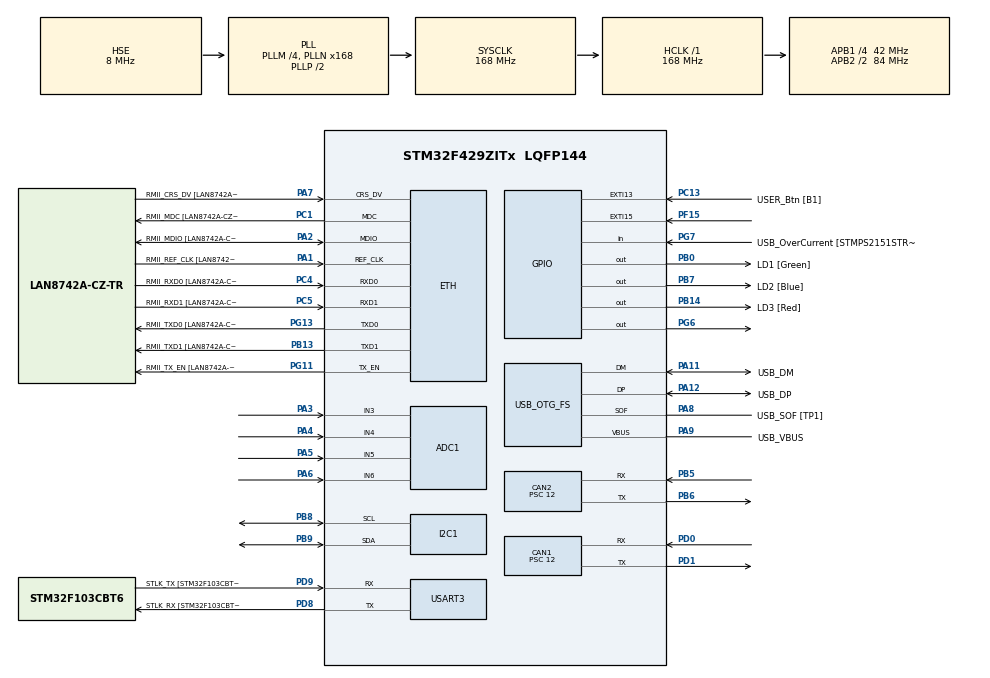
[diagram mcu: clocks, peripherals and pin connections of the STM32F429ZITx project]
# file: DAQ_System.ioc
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ADC1.Channel-3\#ChannelRegularConversion=ADC_CHANNEL_4
ADC1.Channel-7\#ChannelRegularConversion=ADC_CHANNEL_5
ADC1.Channel-8\#ChannelRegularConversion=ADC_CHANNEL_3
ADC1.Channel-9\#ChannelRegularConversion=ADC_CHANNEL_6
ADC1.ContinuousConvMode=ENABLE
ADC1.DMAContinuousRequests=ENABLE
ADC1.DataAlign=ADC_DATAALIGN_RIGHT
ADC1.NbrOfConversion=4
ADC1.NbrOfConversionFlag=1
ADC1.Rank-3\#ChannelRegularConversion=1
ADC1.Rank-7\#ChannelRegularConversion=2
ADC1.Rank-8\#ChannelRegularConversion=3
ADC1.Rank-9\#ChannelRegularConversion=4
ADC1.SamplingTime-3\#ChannelRegularConversion=ADC_SAMPLETIME_15CYCLES
ADC1.SamplingTime-7\#ChannelRegularConversion=ADC_SAMPLETIME_15CYCLES
ADC1.SamplingTime-8\#ChannelRegularConversion=ADC_SAMPLETIME_15CYCLES
ADC1.SamplingTime-9\#ChannelRegularConversion=ADC_SAMPLETIME_15CYCLES
ADC1.master=1
CAN1.BS1=CAN_BS1_11TQ
CAN1.BS2=CAN_BS2_2TQ
CAN1.CalculateBaudRate=250000
CAN1.CalculateTimeBit=4000
CAN1.CalculateTimeQuantum=285.7142857142857
CAN1.Mode=CAN_MODE_NORMAL
CAN1.Prescaler=12
CAN2.BS1=CAN_BS1_11TQ
CAN2.BS2=CAN_BS2_2TQ
CAN2.CalculateBaudRate=250000
CAN2.CalculateTimeBit=4000
CAN2.CalculateTimeQuantum=285.7142857142857
CAN2.Prescaler=12
Dma.ADC1.0.Direction=DMA_PERIPH_TO_MEMORY
Dma.ADC1.0.FIFOMode=DMA_FIFOMODE_DISABLE
Dma.ADC1.0.Instance=DMA2_Stream0
Dma.ADC1.0.MemDataAlignment=DMA_MDATAALIGN_WORD
Dma.ADC1.0.MemInc=DMA_MINC_ENABLE
Dma.ADC1.0.Mode=DMA_CIRCULAR
Dma.ADC1.0.PeriphDataAlignment=DMA_PDATAALIGN_WORD
Dma.ADC1.0.PeriphInc=DMA_PINC_DISABLE
Dma.ADC1.0.Priority=DMA_PRIORITY_LOW
Dma.Request0=ADC1
ETH.MediaInterface=HAL_ETH_RMII_MODE
ETH.PHY_Name=LAN8742A_PHY_ADDRESS
ETH.PHY_Value=0
ETH.PhyAddress=0
FATFS._FS_EXFAT=1
FATFS._MAX_SS=4096
FATFS._USE_LFN=2
FREERTOS.Tasks01=defaultTask,24,128,StartDefaultTask,Default,NULL,Dynamic,NULL,NULL
Mcu.Family=STM32F4
Mcu.Name=STM32F429ZITx
Mcu.Package=LQFP144
NVIC.CAN1_RX0_IRQn=true\:5\:0\:false\:false\:true\:true\:true\:true\:true
NVIC.CAN1_RX1_IRQn=true\:5\:0\:false\:false\:true\:true\:true\:true\:true
NVIC.CAN2_RX0_IRQn=true\:5\:0\:false\:false\:true\:true\:true\:true\:true
NVIC.CAN2_RX1_IRQn=true\:5\:0\:false\:false\:true\:true\:true\:true\:true
NVIC.DMA2_Stream0_IRQn=true\:5\:0\:false\:false\:true\:true\:false\:true\:true
NVIC.EXTI15_10_IRQn=true\:5\:0\:true\:false\:true\:true\:true\:true\:true
NVIC.OTG_FS_IRQn=true\:15\:0\:true\:false\:true\:true\:false\:true\:true
NVIC.PriorityGroup=NVIC_PRIORITYGROUP_4
NVIC.TIM6_DAC_IRQn=true\:15\:0\:false\:false\:true\:false\:false\:true\:true
NVIC.TIM7_IRQn=true\:5\:0\:false\:false\:true\:true\:true\:true\:true
NVIC.TimeBase=TIM6_DAC_IRQn
NVIC.TimeBaseIP=TIM6
PA1.GPIO_Label=RMII_REF_CLK [LAN8742A-CZ-TR_REFCLK0]
PA1.Mode=RMII
PA1.Signal=ETH_REF_CLK
PA10.GPIO_Label=USB_ID
PA10.Signal=USB_OTG_FS_ID
PA11.GPIO_Label=USB_DM
PA11.Mode=Host_Only
PA11.Signal=USB_OTG_FS_DM
PA12.GPIO_Label=USB_DP
PA12.Mode=Host_Only
PA12.Signal=USB_OTG_FS_DP
PA13.GPIO_Label=TMS
PA13.Mode=Serial_Wire
PA13.Signal=SYS_JTMS-SWDIO
PA14.GPIO_Label=TCK
PA14.Mode=Serial_Wire
PA14.Signal=SYS_JTCK-SWCLK
PA2.GPIO_Label=RMII_MDIO [LAN8742A-CZ-TR_MDIO]
PA2.Mode=RMII
PA2.Signal=ETH_MDIO
PA3.Signal=ADCx_IN3
PA4.Signal=ADCx_IN4
PA5.Signal=ADCx_IN5
PA6.Signal=ADCx_IN6
PA7.GPIO_Label=RMII_CRS_DV [LAN8742A-CZ-TR_CRS_DV]
PA7.Mode=RMII
PA7.Signal=ETH_CRS_DV
PA8.GPIO_Label=USB_SOF [TP1]
PA8.Mode=Activate_SOF_FS
PA8.Signal=USB_OTG_FS_SOF
PA9.GPIO_Label=USB_VBUS
PA9.Mode=Activate_VBUS
PA9.Signal=USB_OTG_FS_VBUS
PB0.GPIO_Label=LD1 [Green]
PB0.Signal=GPIO_Output
PB13.GPIO_Label=RMII_TXD1 [LAN8742A-CZ-TR_TXD1]
PB13.Mode=RMII
PB13.Signal=ETH_TXD1
PB14.GPIO_Label=LD3 [Red]
PB14.Signal=GPIO_Output
PB5.GPIO_PuPd=GPIO_PULLUP
PB5.Mode=CAN_Activate
PB5.Signal=CAN2_RX
PB6.Mode=CAN_Activate
PB6.Signal=CAN2_TX
PB7.GPIO_Label=LD2 [Blue]
PB7.Signal=GPIO_Output
PB8.Mode=I2C
PB8.Signal=I2C1_SCL
PB9.Mode=I2C
PB9.Signal=I2C1_SDA
PC1.GPIO_Label=RMII_MDC [LAN8742A-CZ-TR_MDC]
PC1.Mode=RMII
PC1.Signal=ETH_MDC
PC13.GPIO_Label=USER_Btn [B1]
PC13.GPIO_ModeDefaultEXTI=GPIO_MODE_IT_RISING
PC13.Signal=GPXTI13
PC14/OSC32_IN.Mode=LSE-External-Clock-Source
PC14/OSC32_IN.Signal=RCC_OSC32_IN
PC15/OSC32_OUT.Mode=LSE-External-Clock-Source
PC15/OSC32_OUT.Signal=RCC_OSC32_OUT
PC4.GPIO_Label=RMII_RXD0 [LAN8742A-CZ-TR_RXD0]
PC4.Mode=RMII
PC4.Signal=ETH_RXD0
PC5.GPIO_Label=RMII_RXD1 [LAN8742A-CZ-TR_RXD1]
PC5.Mode=RMII
PC5.Signal=ETH_RXD1
PD0.GPIO_PuPd=GPIO_PULLUP
PD0.Mode=CAN_Activate
PD0.Signal=CAN1_RX
PD1.Mode=CAN_Activate
PD1.Signal=CAN1_TX
PD8.GPIO_Label=STLK_RX [STM32F103CBT6_PA3]
PD8.Mode=Asynchronous
PD8.Signal=USART3_TX
PD9.GPIO_Label=STLK_TX [STM32F103CBT6_PA2]
PD9.Mode=Asynchronous
PD9.Signal=USART3_RX
PF15.GPIO_ModeDefaultEXTI=GPIO_MODE_IT_RISING_FALLING
PF15.GPIO_PuPd=GPIO_PULLDOWN
PF15.Signal=GPXTI15
PG11.GPIO_Label=RMII_TX_EN [LAN8742A-CZ-TR_TXEN]
PG11.Mode=RMII
PG11.Signal=ETH_TX_EN
PG13.GPIO_Label=RMII_TXD0 [LAN8742A-CZ-TR_TXD0]
PG13.Mode=RMII
PG13.Signal=ETH_TXD0
PG6.Signal=GPIO_Output
PG7.GPIO_Label=USB_OverCurrent [STMPS2151STR_FAULT]
PG7.Signal=GPIO_Input
PH0/OSC_IN.GPIO_Label=MCO [STM32F103CBT6_PA8]
PH0/OSC_IN.Mode=HSE-External-Oscillator
PH0/OSC_IN.Signal=RCC_OSC_IN
PH1/OSC_OUT.Mode=HSE-External-Oscillator
PH1/OSC_OUT.Signal=RCC_OSC_OUT
ProjectManager.HeapSize=0x200
ProjectManager.StackSize=0x400
ProjectManager.TargetToolchain=STM32CubeIDE
RCC.48MHZClocksFreq_Value=48000000
RCC.AHBFreq_Value=168000000
RCC.APB1CLKDivider=RCC_HCLK_DIV4
RCC.APB1Freq_Value=42000000
RCC.APB1TimFreq_Value=84000000
RCC.APB2CLKDivider=RCC_HCLK_DIV2
RCC.APB2Freq_Value=84000000
RCC.APB2TimCLKDivider=2
RCC.APB2TimFreq_Value=168000000
RCC.CortexFreq_Value=168000000
RCC.HCLKFreq_Value=168000000
RCC.HSE_VALUE=8000000
RCC.HSI_VALUE=16000000
RCC.LSE_VALUE=32768
RCC.PLLM=4
RCC.PLLMUL=RCC_PLL_MUL9
RCC.PLLN=168
RCC.PLLQ=7
RCC.PRESCALERUSB=RCC_USBCLKSOURCE_PLL_DIV1_5
RCC.SYSCLKFreq_VALUE=168000000
RCC.SYSCLKSource=RCC_SYSCLKSOURCE_PLLCLK
RCC.SYSCLKSourceVirtual=RCC_SYSCLKSOURCE_PLLCLK
RCC.USBFreq_Value=48000000
RCC.VCOOutputFreq_Value=336000000
SH.ADCx_IN3.0=ADC1_IN3,IN3
SH.ADCx_IN4.0=ADC1_IN4,IN4
SH.ADCx_IN5.0=ADC1_IN5,IN5
SH.ADCx_IN6.0=ADC1_IN6,IN6
TIM7.Period=105-1
TIM7.Prescaler=8000-1
USART3.VirtualMode=VM_ASYNC
USB_HOST.BSP.number=1
USB_HOST.USBH_HandleTypeDef-MSC_FS=hUsbHostFS
USB_HOST.USBH_PROCESS_STACK_SIZE-MSC_FS=1024
USB_HOST.VirtualModeFS=Msc
USB_HOST0.BSP.STBoard=false
USB_HOST0.BSP.api=Unknown
USB_HOST0.BSP.condition=SW_VBUS_DRIVE_MSC_FS \= false
USB_HOST0.BSP.instance=PG6
USB_HOST0.BSP.ip=GPIO
USB_HOST0.BSP.mode=Output
USB_HOST0.BSP.name=Drive_VBUS_FS
USB_HOST0.BSP.solution=PG6
USB_OTG_FS.VirtualMode=Host_Only
USB_OTG_FS.phy_itface=HCD_PHY_EMBEDDED
VP_FATFS_VS_USB.Mode=USB
VP_FREERTOS_VS_CMSIS_V2.Mode=CMSIS_V2
VP_SYS_VS_tim6.Mode=TIM6
VP_TIM7_VS_ClockSourceINT.Mode=Enable_Timer
VP_USB_HOST_VS_USB_HOST_MSC_FS.Mode=MSC_FS
board=NUCLEO-F429ZI

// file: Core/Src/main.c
/* USER CODE BEGIN Header */
/**
  ******************************************************************************
  * @file           : main.c
  * @brief          : Main program body
  ******************************************************************************
  * @attention
  *
  * Copyright (c) 2023 STMicroelectronics.
  * All rights reserved.
  *
  * This software is licensed under terms that can be found in the LICENSE file
  * in the root directory of this software component.
  * If no LICENSE file comes with this software, it is provided AS-IS.
  *
  ******************************************************************************
  */
/* USER CODE END Header */
#include "main.h"
#include "cmsis_os.h"
#include "adc.h"
#include "can.h"
#include "dma.h"
#include "eth.h"
#include "fatfs.h"
#include "i2c.h"
#include "tim.h"
#include "usart.h"
#include "usb_host.h"
#include "gpio.h"

/* USER CODE BEGIN Includes */
#include "../../Program/Src/app.hpp"
#include "retarget.h"
/* USER CODE END Includes */

/* USER CODE BEGIN PTD */
// CAN typedefs

/* USER CODE END PTD */

/* USER CODE BEGIN PV */
extern uint32_t timestamp_thread_flag;
extern osThreadId_t timestampTaskHandle;

/* USER CODE END PV */

void SystemClock_Config(void);
void MX_FREERTOS_Init(void);

int main(void)
{

  /* MCU Configuration--------------------------------------------------------*/

  /* Reset of all peripherals, Initializes the Flash interface and the Systick. */
  HAL_Init();

  /* Configure the system clock */
  SystemClock_Config();

  /* Initialize all configured peripherals */
  MX_GPIO_Init();
  MX_DMA_Init();
  MX_ETH_Init();
  MX_USART3_UART_Init();
  MX_ADC1_Init();
  MX_CAN1_Init();
  MX_I2C1_Init();
  MX_FATFS_Init();
  MX_TIM7_Init();
  MX_CAN2_Init();
  /* USER CODE BEGIN 2 */

//  RetargetInit(&huart3);
  cppMain();

  /* USER CODE END 2 */

  /* Init scheduler */
  osKernelInitialize();

  /* Call init function for freertos objects (in cmsis_os2.c) */
  MX_FREERTOS_Init();

  /* Start scheduler */
  osKernelStart();

  /* We should never get here as control is now taken by the scheduler */

  /* Infinite loop */
  while (1)
  {

  }
}

void SystemClock_Config(void)
{
  RCC_OscInitTypeDef RCC_OscInitStruct = {0};
  RCC_ClkInitTypeDef RCC_ClkInitStruct = {0};

  /** Configure the main internal regulator output voltage
  */
  __HAL_RCC_PWR_CLK_ENABLE();
  __HAL_PWR_VOLTAGESCALING_CONFIG(PWR_REGULATOR_VOLTAGE_SCALE1);

  /** Initializes the RCC Oscillators according to the specified parameters
  * in the RCC_OscInitTypeDef structure.
  */
  RCC_OscInitStruct.OscillatorType = RCC_OSCILLATORTYPE_HSE;
  RCC_OscInitStruct.HSEState = RCC_HSE_ON;
  RCC_OscInitStruct.PLL.PLLState = RCC_PLL_ON;
  RCC_OscInitStruct.PLL.PLLSource = RCC_PLLSOURCE_HSE;
  RCC_OscInitStruct.PLL.PLLM = 4;
  RCC_OscInitStruct.PLL.PLLN = 168;
  RCC_OscInitStruct.PLL.PLLP = RCC_PLLP_DIV2;
  RCC_OscInitStruct.PLL.PLLQ = 7;
  if (HAL_RCC_OscConfig(&RCC_OscInitStruct) != HAL_OK)
  {
    Error_Handler();
  }

  /** Initializes the CPU, AHB and APB buses clocks
  */
  RCC_ClkInitStruct.ClockType = RCC_CLOCKTYPE_HCLK|RCC_CLOCKTYPE_SYSCLK
                              |RCC_CLOCKTYPE_PCLK1|RCC_CLOCKTYPE_PCLK2;
  RCC_ClkInitStruct.SYSCLKSource = RCC_SYSCLKSOURCE_PLLCLK;
  RCC_ClkInitStruct.AHBCLKDivider = RCC_SYSCLK_DIV1;
  RCC_ClkInitStruct.APB1CLKDivider = RCC_HCLK_DIV4;
  RCC_ClkInitStruct.APB2CLKDivider = RCC_HCLK_DIV2;

  if (HAL_RCC_ClockConfig(&RCC_ClkInitStruct, FLASH_LATENCY_5) != HAL_OK)
  {
    Error_Handler();
  }
}

void HAL_TIM_PeriodElapsedCallback(TIM_HandleTypeDef *htim)
{
  /* USER CODE BEGIN Callback 0 */
	if (htim->Instance == TIM7) {
		osThreadFlagsSet(timestampTaskHandle, timestamp_thread_flag);
	}

  /* USER CODE END Callback 0 */
  if (htim->Instance == TIM6) {
    HAL_IncTick();
  }
}

void Error_Handler(void)
{
  __disable_irq();
  while (1)
  {
  }
}

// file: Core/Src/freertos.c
/* USER CODE BEGIN Header */
/**
 ******************************************************************************
 * File Name          : freertos.c
 * Description        : Code for freertos applications
 ******************************************************************************
 * @attention
 *
 * Copyright (c) 2023 STMicroelectronics.
 * All rights reserved.
 *
 * This software is licensed under terms that can be found in the LICENSE file
 * in the root directory of this software component.
 * If no LICENSE file comes with this software, it is provided AS-IS.
 *
 ******************************************************************************
 */
/* USER CODE END Header */

#include "FreeRTOS.h"
#include "task.h"
#include "main.h"
#include "cmsis_os.h"

/* USER CODE BEGIN Includes */
#include <stdbool.h>

#include "usart.h"
extern UART_HandleTypeDef huart3;

#include "adc.h"
extern ADC_HandleTypeDef hadc1;

#include <stdio.h>
#include <inttypes.h>
#include "retarget.h"
/* USER CODE END Includes */

/* USER CODE BEGIN Variables */
osThreadId_t Task1Handle;
const osThreadAttr_t Task1_attributes = {
	.name = "Task1",
	.stack_size = 128 * 4,
	.priority = (osPriority_t) osPriorityNormal,
};

osThreadId_t Task2Handle;
const osThreadAttr_t Task2_attributes = {
	.name = "Task2",
	.stack_size = 128 * 4,
	.priority = (osPriority_t) osPriorityAboveNormal,
};

osThreadId_t Task3Handle;
const osThreadAttr_t Task3_attributes = {
	.name = "Task3",
	.stack_size = 128 * 4,
	.priority = (osPriority_t) osPriorityBelowNormal,
};
/* USER CODE END Variables */
/* Definitions for defaultTask */
osThreadId_t defaultTaskHandle;
const osThreadAttr_t defaultTask_attributes = {
  .name = "defaultTask",
  .stack_size = 128 * 4,
  .priority = (osPriority_t) osPriorityNormal,
};

/* USER CODE BEGIN FunctionPrototypes */
void Task1_init(void *argument);
void Task2_init(void *argument);
void Task3_init(void *argument);
/* USER CODE END FunctionPrototypes */

void StartDefaultTask(void *argument);

extern void MX_USB_HOST_Init(void);
void MX_FREERTOS_Init(void); /* (MISRA C 2004 rule 8.1) */

void MX_FREERTOS_Init(void) {
  /* USER CODE BEGIN Init */

	Task1Handle = osThreadNew(Task1_init, NULL, &Task1_attributes);
	Task2Handle = osThreadNew(Task2_init, NULL, &Task2_attributes);
	Task3Handle = osThreadNew(Task3_init, NULL, &Task3_attributes);

	// Avoid initializing the auto-generated default task
	return;
  /* USER CODE END Init */

  /* Create the thread(s) */
  /* creation of defaultTask */
  defaultTaskHandle = osThreadNew(StartDefaultTask, NULL, &defaultTask_attributes);

}

void StartDefaultTask(void *argument)
{
  /* init code for USB_HOST */
  MX_USB_HOST_Init();
	for (;;) {
		osDelay(1);
	}
}

/* USER CODE BEGIN Application */
void Task1_init(void *argument) {
	while (true) {
		uint8_t data[] = "Hello TASK1\n";
		HAL_UART_Transmit(&huart3, data, 12, 1000);
		osDelay(1000);
	}
}

void Task2_init(void *argument) {
	while (true) {
		uint8_t data[] = "Hello TASK2\n";
		HAL_UART_Transmit(&huart3, data, 12, 1000);
		osDelay(1000);
	}
}

void Task3_init(void *argument) {
	while (true) {
		uint8_t data[] = "Hello TASK3\n";
		HAL_UART_Transmit(&huart3, data, 12, 1000);
		osDelay(1000);
	}
}
/* USER CODE END Application */
